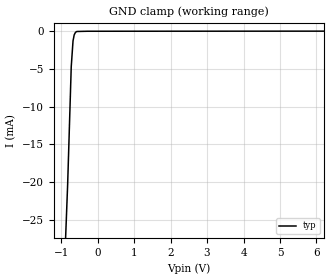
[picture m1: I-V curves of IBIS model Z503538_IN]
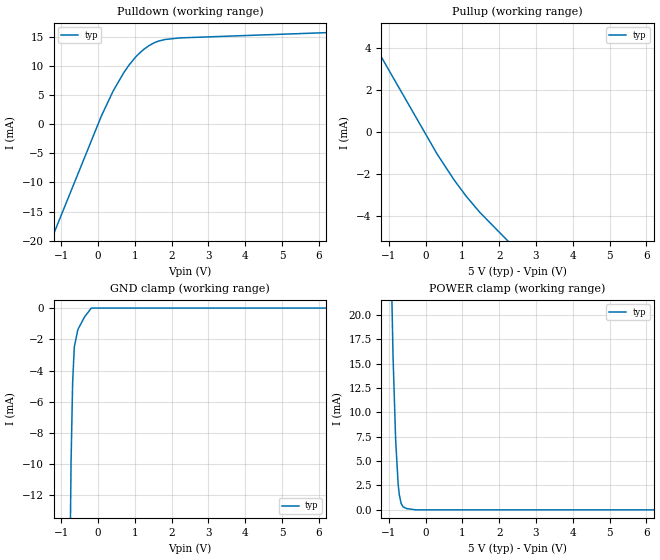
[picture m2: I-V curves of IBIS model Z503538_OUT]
| YOU ARE ONLY AUTHORIZED TO USE THIS SOFTWARE
| ACCORDING TO LICENSOR'S LICENSE RESTRICTIONS.
[IBIS Ver] 3.1
[File Name] mc14049ubd.ibs
[File Rev] 2.0
[Source] Measured and created by ICX Technology
[Date] Friday 7/14/00 9:07:52 AM
[Copyright]
| (C) COPYRIGHT 1993-2000
| MENTOR GRAPHICS CORPORATION
| ICX STANDARD LIBRARY, ICX PROJECT MODELING,
| ICX CUSTOM MODELING, ICX VENDOR MODEL
| ALL RIGHTS RESERVED.
| THE FOLLOWING ARE TRADEMARKS OR SERVICE MARKS OF
| MENTOR GRAPHICS CORPORATION:ICX (R), ICX STANDARD
| LIBRARY(R), ICX PROJECT MODELING(R), ICX CUSTOM
| MODELING(R), qualityIBIS(TM), MODELVIEWER(TM),
| AND MODELEDITOR(TM)
| ALL COPIES OF SOFTWARE, INCLUDING BUT NOT LIMITED TO
| ANY MODIFICATIONS, ENHANCEMENTS OR DERIVATIVE WORKS,
| MUST CONTAIN ALL MENTOR GRAPHICS CORPORATION'S
| NOTICES AND LEGENDS, INCLUDING THOSE EMBEDDED IN
| SOFTWARE AND THOSE AFFIXED TO SOFTWARE MEDIUM
| AND CONTAINER, AS RECEIVED FROM MENTOR GRAPHICS
| CORPORATION.
|  ZAP Model Builder 2.7
[Component] MC14049UBD
[Manufacturer] OnSemiconductor
[Package]
| variable   typ   min   max
R_pkg  .156ohms NA NA
L_pkg  3.148nH NA NA
C_pkg  .388pF NA NA
[Pin] signal_name  model_name  R_pin  L_pin C_pin
1 VDD POWER .162 3.798n .418p
2 OUT Z503538_OUT .158 3.358n .398p
3 IN Z503538_IN .154 2.928n .378p
4 OUT Z503538_OUT .15 2.508n .358p
5 IN Z503538_IN .15 2.508n .358p
6 OUT Z503538_OUT .154 2.928n .378p
7 IN Z503538_IN .158 3.358n .398p
8 VSS GND .162 3.798n .418p
9 IN Z503538_IN .162 3.798n .418p
10 OUT Z503538_OUT .158 3.358n .398p
11 IN Z503538_IN .154 2.928n .378p
12 OUT Z503538_OUT .15 2.508n .358p
13 NC NC .15 2.508n .358p
14 IN Z503538_IN .154 2.928n .378p
15 OUT Z503538_OUT .158 3.358n .398p
16 NC NC .162 3.798n .418p
| Models and submodels in the file (2): Z503538_IN (Input), Z503538_OUT (Output)
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| (C) COPYRIGHT 1993-2000
| MENTOR GRAPHICS CORPORATION
| ICX STANDARD LIBRARY, ICX PROJECT MODELING,
| ICX CUSTOM MODELING, ICX VENDOR MODEL
| ALL RIGHTS RESERVED.
| THE FOLLOWING ARE TRADEMARKS OR SERVICE MARKS OF
| MENTOR GRAPHICS CORPORATION:ICX (R), ICX STANDARD
| LIBRARY(R), ICX PROJECT MODELING(R), ICX CUSTOM
| MODELING(R), qualityIBIS(TM), MODELVIEWER(TM),
| AND MODELEDITOR(TM)
| ALL COPIES OF SOFTWARE, INCLUDING BUT NOT LIMITED TO
| ANY MODIFICATIONS, ENHANCEMENTS OR DERIVATIVE WORKS,
| MUST CONTAIN ALL MENTOR GRAPHICS CORPORATION'S
| NOTICES AND LEGENDS, INCLUDING THOSE EMBEDDED IN
| SOFTWARE AND THOSE AFFIXED TO SOFTWARE MEDIUM
| AND CONTAINER, AS RECEIVED FROM MENTOR GRAPHICS
| CORPORATION.
| Model Application Version 1.89 2/18/99.
[Model] Z503538_IN
Model_type Input
Vinl = 1.500V
Vinh = 3.500V
C_comp 4.000pF NA NA
| variable typ   min   max
[Voltage Range] 5.000V NA NA
[GND Clamp Reference] 0.000V NA NA
[POWER Clamp Reference] 5.000V NA NA
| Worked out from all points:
|   GND clamp passes 1 mA (typ) near -0.66 V on its own axis
[GND Clamp]
-5V       -550mA     NA         NA
-820.7mV  -20.25mA   NA         NA
-722.6mV  -4.714mA   NA         NA
-673.8mV  -1.3mA     NA         NA
-641.4mV  -487.7uA   NA         NA
-605.9mV  -150.9uA   NA         NA
-568.3mV  -42.03uA   NA         NA
-284.2mV  -9.806uA   NA         NA
10V       12.29uA    NA         NA
[POWER Clamp]
-5V       0A         NA         NA
10V       0A         NA         NA
| (C) COPYRIGHT 1993-2000
| MENTOR GRAPHICS CORPORATION
| ICX STANDARD LIBRARY, ICX PROJECT MODELING,
| ICX CUSTOM MODELING, ICX VENDOR MODEL
| ALL RIGHTS RESERVED.
| THE FOLLOWING ARE TRADEMARKS OR SERVICE MARKS OF
| MENTOR GRAPHICS CORPORATION:ICX (R), ICX STANDARD
| LIBRARY(R), ICX PROJECT MODELING(R), ICX CUSTOM
| MODELING(R), qualityIBIS(TM), MODELVIEWER(TM),
| AND MODELEDITOR(TM)
| ALL COPIES OF SOFTWARE, INCLUDING BUT NOT LIMITED TO
| ANY MODIFICATIONS, ENHANCEMENTS OR DERIVATIVE WORKS,
| MUST CONTAIN ALL MENTOR GRAPHICS CORPORATION'S
| NOTICES AND LEGENDS, INCLUDING THOSE EMBEDDED IN
| SOFTWARE AND THOSE AFFIXED TO SOFTWARE MEDIUM
| AND CONTAINER, AS RECEIVED FROM MENTOR GRAPHICS
| CORPORATION.
| Model Application Version 1.89 2/18/99.
[Model] Z503538_OUT
Model_type Output
Vref=0.000V
Rref=500.0Mohms
Cref=50.00pF
Vmeas=2.500V
C_comp 8.000pF NA NA
| variable typ   min   max
[Voltage Range] 5.000V NA NA
[POWER Clamp Reference] 5.000V NA NA
[Pullup Reference] 5.000V NA NA
[Pulldown Reference] 0.000V NA NA
[GND Clamp Reference] 0.000V NA NA
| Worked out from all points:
|   slope of the pulldown table from 0 to 0.75 V, typ, clamps not added: 80.3 ohm
|   slope of the pullup table from 0 to 0.75 V, typ, clamps not added: 355 ohm
|   GND clamp passes 1 mA (typ) near -0.46 V on its own axis
|   POWER clamp passes 1 mA (typ) near -0.68 V on its own axis
[GND Clamp]
-5V       -1.005A    NA         NA
-732.4mV  -9.943mA   NA         NA
-689.3mV  -4.788mA   NA         NA
-643.5mV  -2.484mA   NA         NA
-546.8mV  -1.377mA   NA         NA
-365.5mV  -568.1uA   NA         NA
-182.8mV  0A         NA         NA
10V       0A         NA         NA
[Pulldown]
-5V       -78.24mA   NA         NA
92.85mV   1.446mA    NA         NA
410.2mV   5.704mA    NA         NA
698.4mV   8.855mA    NA         NA
840.3mV   10.16mA    NA         NA
1.026V    11.59mA    NA         NA
1.177V    12.53mA    NA         NA
1.387V    13.53mA    NA         NA
1.638V    14.29mA    NA         NA
2.212V    14.85mA    NA         NA
10V       16.62mA    NA         NA
[Pullup]
-5V       15.09mA    NA         NA
317mV     -1.045mA   NA         NA
781mV     -2.279mA   NA         NA
1.114V    -3.061mA   NA         NA
1.483V    -3.821mA   NA         NA
10V       -18.94mA   NA         NA
[POWER Clamp]
-5V       797.9mA    NA         NA
-883mV    15.92mA    NA         NA
-811mV    7.173mA    NA         NA
-742mV    2.583mA    NA         NA
-712mV    1.565mA    NA         NA
-664mV    679.3uA    NA         NA
-610mV    310.2uA    NA         NA
-513mV    131.5uA    NA         NA
-256.5mV  0A         NA         NA
10V       0A         NA         NA
[Ramp]
| variable typ min max
dV/dt_r 2.647/13.74n NA NA
dV/dt_f 2.647/5.969n NA NA
R_load = 2.500kOhms
